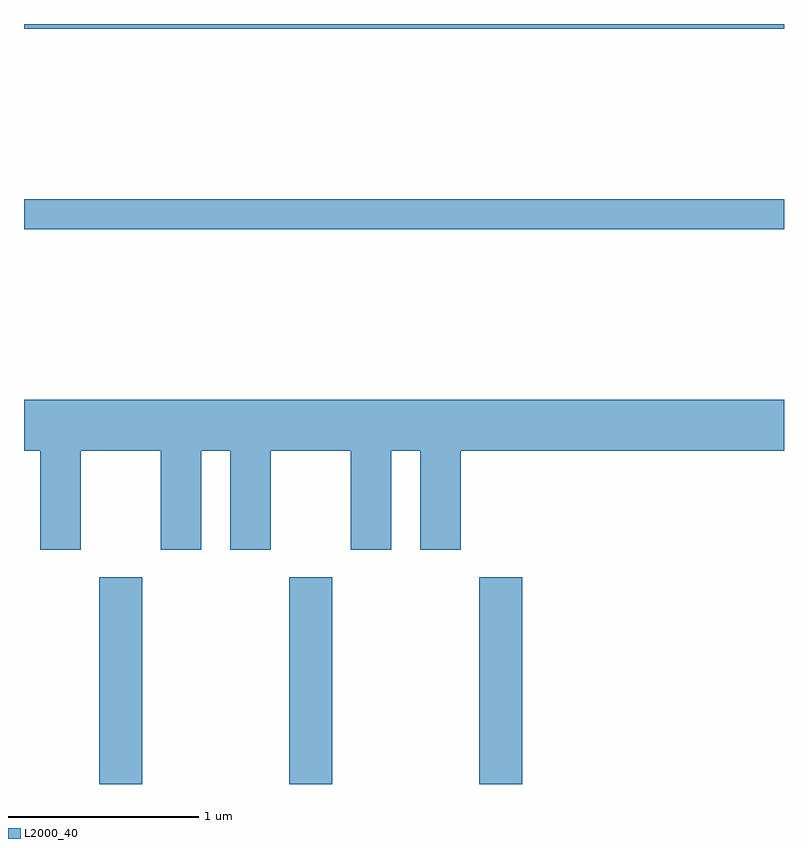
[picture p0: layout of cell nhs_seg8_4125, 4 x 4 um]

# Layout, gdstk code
import gdstk
lib = gdstk.Library(unit=1e-6, precision=1e-09)
def R(c, l, rs):  # rectangles x0, y0, x1, y1
    for r in rs: c.add(gdstk.rectangle(r[:2], r[2:], *l))
def A(c, l, x, y, w, h, nx, ny, dx, dy):  # array of equal rectangles
    R(c, l, [(x+i*dx, y+j*dy, x+i*dx+w, y+j*dy+h) for i in range(nx) for j in range(ny)])
def P(c, l, *ps):  # polygons
    for p in ps: c.add(gdstk.Polygon(p, *l))
L2000_40 = (2000, 40)

nhs_seg8_4125 = lib.new_cell('nhs_seg8_4125')
A(nhs_seg8_4125, L2000_40, 308.006, 1932.342, 0.228, 1.087, 3, 1, 1, 0)
R(nhs_seg8_4125, L2000_40, [(307.611,1935.261,311.611,1935.419), (307.611,1936.316,311.611,1936.342)])
P(nhs_seg8_4125, L2000_40, [(307.909,1934.096),(308.331,1934.096),(308.331,1933.576),(308.544,1933.576),(308.544,1934.096),(308.696,1934.096),(308.696,1933.576),(308.909,1933.576),(308.909,1934.096),(309.331,1934.096),(309.331,1933.576),(309.544,1933.576),(309.544,1934.096),(309.696,1934.096),(309.696,1933.576),(309.909,1933.576),(309.909,1934.096),(311.611,1934.096),(311.611,1934.364),(307.611,1934.364),(307.611,1934.096),(307.696,1934.096),(307.696,1933.576),(307.909,1933.576)])

lib.write_gds('nhs_seg8_4125.gds')
